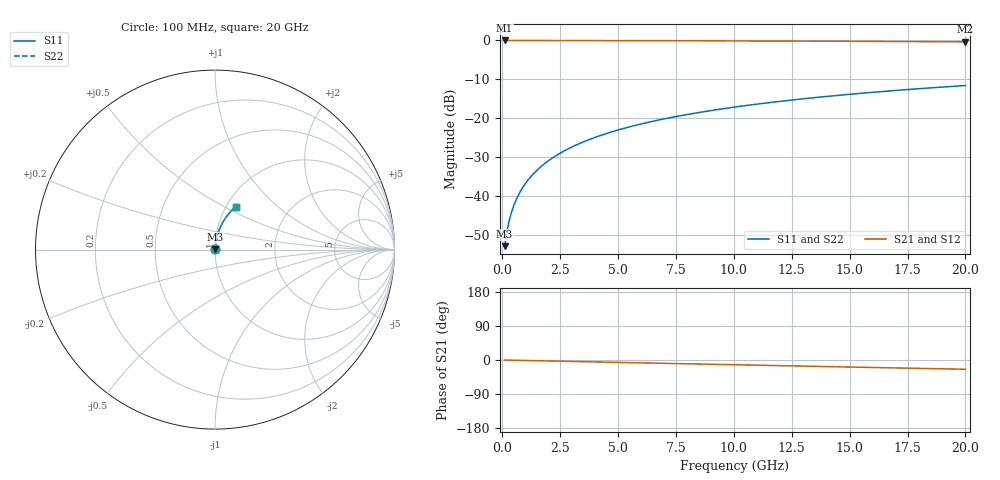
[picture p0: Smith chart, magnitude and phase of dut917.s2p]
! Touchstone file exported from HFSS 2026.1.0
!  File:  C:/ffzhzh/LocalFiles/Ansys_Project_Files/temp_train_TMRDL_917_1783158084_22436.aedt
!  Generated:  05:42:38 PM Jul  4, 2026
!  Design:  TMRDL
!  Project:  temp_train_TMRDL_917_1783158084_22436
! Variables:
!  h_bsmrdl = 2um
!  h_ox = 20um
!  h_rdl = 5um
!  h_sub = 80um
!  h_tmrdl = 2.93um
!  h_tsv = 80um
!  h_via = 3um
!  l_bsmrdl = 300um
!  l_sub = 692.73um
!  l_tmrdl = 292.73um
!  m_sub = 200um
!  pitch = 58.89um
!  r_tsv = 6um
!  s_tmrdl = 10um
!  w_bsmrdl = 18um
!  w_sub = 500um
!  w_tmrdl = 24.74um
!  x_tsv_center1 = 305.1um
!  x_tsv_center2 = 623.1um
!  x_tsv_center3 = 940.57um
!  x_tsv_center4 = 1258.57um
!  x_tsv_center5 = 1576.04um
!  x_tsv_center6 = 1894.04um
# GHz S MA R 50.000000
! Terminal data exported
! Port[1] = TM_RDL1_1_T1
! Port[2] = TM_RDL1_1_T2
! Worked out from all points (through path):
!   200 points, 100 MHz to 20 GHz, reference 50 ohm
!   highest |S21| = -0.01 dB at 100 MHz (marker M1); lowest = -0.4 dB at 20 GHz (marker M2)
!   group delay of S21, straight-line fit = 3.39 ps
!   lowest |S11| = -52.8 dB at 100 MHz (marker M3), VSWR 1.00, Z = 50.2 + j0.155 ohm
!   |S11| at or under -10 dB: start of sweep to end of sweep
!   |S22| runs from -52.8 to -11.6 dB; largest |S21 - S12| = 2.2e-15
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0.1  0.002304 41.9  0.9983 -0.1  0.9983 -0.1  0.002304 41.9
! Gamma 0 0 0 0
! Port Impedance 50 0 50 0
0.2  0.003536 59.6  0.9982 -0.3  0.9982 -0.3  0.003536 59.6
0.3  0.004899 67.4  0.9981 -0.4  0.9981 -0.4  0.004899 67.4
0.4  0.006284 71.6  0.9981 -0.5  0.9981 -0.5  0.006284 71.6
0.5  0.007672 74.4  0.998 -0.7  0.998 -0.7  0.007672 74.4
0.6  0.009061 76.3  0.9979 -0.8  0.9979 -0.8  0.009061 76.3
0.8  0.01185 78.8  0.9978 -1.0  0.9978 -1.0  0.01185 78.8
1.1  0.01605 80.8  0.9977 -1.4  0.9977 -1.4  0.01605 80.8
1.5  0.0217 82.2  0.9975 -1.9  0.9975 -1.9  0.0217 82.2
1.8  0.02594 82.7  0.9974 -2.3  0.9974 -2.3  0.02594 82.7
2.1  0.03019 82.9  0.9972 -2.7  0.9972 -2.7  0.03019 82.9
2.7  0.03868 83.0  0.9969 -3.4  0.9969 -3.4  0.03868 83.0
3.5  0.04999 82.6  0.9962 -4.4  0.9962 -4.4  0.04999 82.6
4.2  0.05985 82.1  0.9955 -5.3  0.9955 -5.3  0.05985 82.1
5  0.07106 81.4  0.9946 -6.3  0.9946 -6.3  0.07106 81.4
5.9  0.08358 80.4  0.9934 -7.5  0.9934 -7.5  0.08358 80.4
6.8  0.09601 79.5  0.9921 -8.6  0.9921 -8.6  0.09601 79.5
8.3  0.1165 77.7  0.9895 -10.4  0.9895 -10.4  0.1165 77.7
10.1  0.1406 75.7  0.9859 -12.7  0.9859 -12.7  0.1406 75.7
13.4  0.1836 71.8  0.9781 -16.7  0.9781 -16.7  0.1836 71.8
16.7  0.2248 68.0  0.9689 -20.6  0.9689 -20.6  0.2248 68.0
20  0.2639 64.3  0.9586 -24.4  0.9586 -24.4  0.2639 64.3
